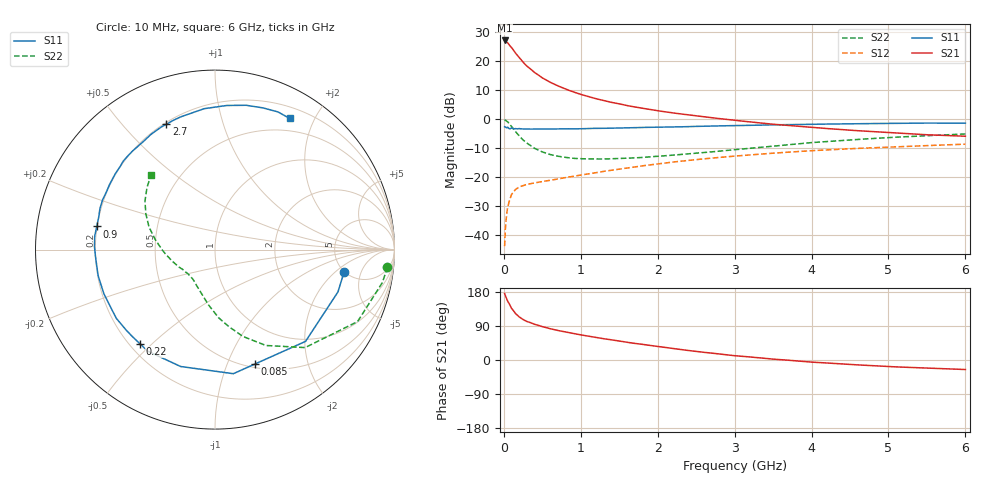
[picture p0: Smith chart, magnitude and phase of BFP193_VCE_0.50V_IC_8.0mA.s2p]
! Infineon Technologies  Discrete & RF Semiconductors
! BFP193
! VCE = 0.50V,  IC =  8.0 mA
! Common Emitter S-Parameters:  Jan 2016
# GHz  S  MA  R  50
!  f  S11  S21  S12  S22
! GHz  MAG  ANG  MAG  ANG  MAG  ANG  MAG  ANG
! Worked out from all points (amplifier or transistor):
!   210 points, 10 MHz to 6 GHz, reference 50 ohm
!   highest |S21| = 27.1 dB at 10 MHz (marker M1)
!   |S21| within 3 dB of that: start of sweep to 115.6 MHz
!   unconditionally stable (mu >= 1): 957.5 MHz to end of sweep
!   at 185 MHz: K = 0.29, MSG = 22.7 dB, |S12| = -23.8 dB
!   at 1.52 GHz: K = 1.13, MAG = 9.0 dB, |S12| = -17.3 dB
!   at 6 GHz: K = 1.02, MAG = 0.4 dB, |S12| = -8.8 dB
!   S11 on the Smith chart (normalised r, x): 10 MHz: 4.93, -2.65; 85 MHz: 0.54, -1.26; 220 MHz: 0.24, -0.46; 900 MHz: 0.20, +0.09; 2.7 GHz: 0.21, +0.66; 6 GHz: 0.33, +1.67
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0.01  0.7297 -9.9  22.58 175.5  0.0063 86.7  0.966 -5.8
0.02  0.7245 -19.0  21.98 169.2  0.0125 80.4  0.9506 -11.1
0.05  0.7183 -45.4  20.52 155.2  0.0298 68.4  0.8898 -26.8
0.085  0.6752 -70.7  17.93 142.7  0.0432 57.0  0.7747 -40.4
0.1  0.6989 -81.6  17.13 136.3  0.0492 54.1  0.7416 -47.4
0.15  0.6789 -106.4  13.74 122.5  0.0598 44.2  0.6051 -62.0
0.2  0.6787 -123.5  11.38 113.6  0.0665 39.1  0.5071 -72.3
0.22  0.671 -128.5  10.6 111.1  0.0679 37.6  0.4755 -75.2
0.26  0.6678 -137.8  9.201 105.7  0.0709 35.1  0.4203 -81.6
0.3  0.6701 -145.2  8.131 101.6  0.0736 34.1  0.3799 -87.0
0.4  0.6662 -158.3  6.3 94.1  0.0781 32.8  0.309 -96.9
0.5  0.6671 -167.4  5.099 88.0  0.0824 33.0  0.2679 -104.3
0.6  0.6664 -175.1  4.295 82.6  0.0867 33.9  0.2421 -111.0
0.9  0.6706 168.9  2.919 70.1  0.1016 36.7  0.2077 -125.1
1.02  0.674 163.6  2.596 65.6  0.1077 37.6  0.2042 -129.1
1.4  0.6897 149.0  1.922 53.2  0.1295 39.2  0.2044 -140.7
2.02  0.7159 129.8  1.367 35.2  0.1678 38.0  0.2258 -156.3
2.7  0.7498 111.2  1.044 18.2  0.2091 33.2  0.2684 -172.5
3.1  0.7667 102.4  0.912 9.7  0.2323 29.5  0.3006 178.5
4.1  0.8078 83.9  0.695 -6.7  0.2857 19.5  0.3963 159.4
5.1  0.8348 70.1  0.571 -18.2  0.3286 9.1  0.4815 143.7
6  0.8407 60.4  0.5 -25.1  0.3644 -0.2  0.5474 130.8
